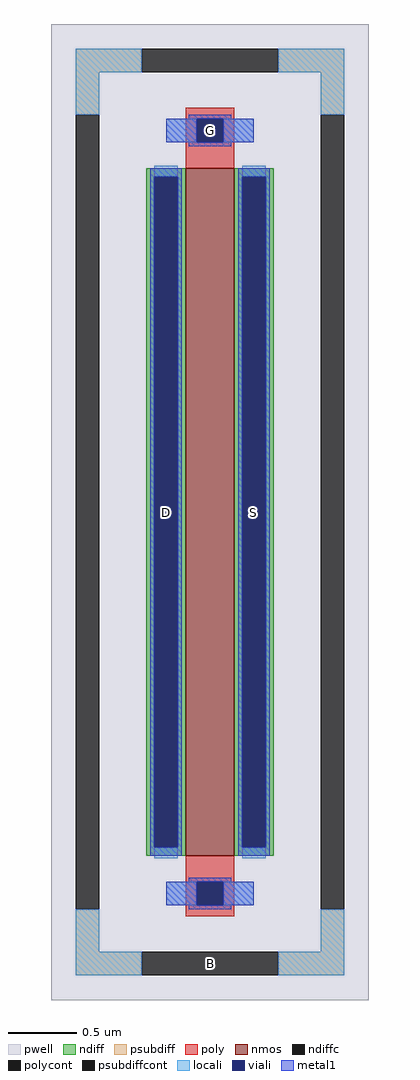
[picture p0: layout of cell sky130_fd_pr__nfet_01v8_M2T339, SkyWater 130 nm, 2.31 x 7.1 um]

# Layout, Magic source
magic
tech sky130A
magscale 1 2
<< pwell >>
rect -231 -710 231 710
<< nmos >>
rect -35 -500 35 500
<< ndiff >>
rect -93 488 -35 500
rect -93 -488 -81 488
rect -47 -488 -35 488
rect -93 -500 -35 -488
rect 35 488 93 500
rect 35 -488 47 488
rect 81 -488 93 488
rect 35 -500 93 -488
<< ndiffc >>
rect -81 -488 -47 488
rect 47 -488 81 488
<< psubdiff >>
rect -195 640 -99 674
rect 99 640 195 674
rect -195 578 -161 640
rect 161 578 195 640
rect -195 -640 -161 -578
rect 161 -640 195 -578
rect -195 -674 -99 -640
rect 99 -674 195 -640
<< psubdiffcont >>
rect -99 640 99 674
rect -195 -578 -161 578
rect 161 -578 195 578
rect -99 -674 99 -640
<< poly >>
rect -35 572 35 588
rect -35 538 -19 572
rect 19 538 35 572
rect -35 500 35 538
rect -35 -538 35 -500
rect -35 -572 -19 -538
rect 19 -572 35 -538
rect -35 -588 35 -572
<< polycont >>
rect -19 538 19 572
rect -19 -572 19 -538
<< locali >>
rect -195 640 -99 674
rect 99 640 195 674
rect -195 578 -161 640
rect 161 578 195 640
rect -64 538 -19 572
rect 19 538 64 572
rect -81 488 -47 504
rect -81 -504 -47 -488
rect 47 488 81 504
rect 47 -504 81 -488
rect -64 -572 -19 -538
rect 19 -572 64 -538
rect -195 -640 -161 -578
rect 161 -640 195 -578
rect -195 -674 -99 -640
rect 99 -674 195 -640
<< viali >>
rect -19 538 19 572
rect -81 -488 -47 488
rect 47 -488 81 488
rect -19 -572 19 -538
<< metal1 >>
rect -31 572 31 578
rect -64 538 -19 572
rect 19 538 64 572
rect -31 532 31 538
rect -87 488 -41 500
rect -87 -488 -81 488
rect -47 -488 -41 488
rect -87 -500 -41 -488
rect 41 488 87 500
rect 41 -488 47 488
rect 81 -488 87 488
rect 41 -500 87 -488
rect -31 -538 31 -532
rect -64 -572 -19 -538
rect 19 -572 64 -538
rect -31 -578 31 -572
<< labels >>
rlabel psubdiffcont 0 -657 0 -657 0 B
port 1 nsew
rlabel ndiffc -64 0 -64 0 0 D
port 2 nsew
rlabel ndiffc 64 0 64 0 0 S
port 3 nsew
rlabel polycont 0 555 0 555 0 G
port 4 nsew
<< properties >>
string FIXED_BBOX -178 -657 178 657
string gencell sky130_fd_pr__nfet_01v8
string library sky130
string parameters w 5 l 0.35 m 1 nf 1 diffcov 100 polycov 100 guard 1 glc 1 grc 1 gtc 1 gbc 1 tbcov 100 rlcov 100 topc 1 botc 1 poverlap 0 doverlap 1 lmin 0.15 wmin 0.42 class mosfet compatible {sky130_fd_pr__nfet_01v8 sky130_fd_pr__nfet_01v8_lvt  sky130_fd_bs_flash__special_sonosfet_star  sky130_fd_pr__nfet_g5v0d10v5 sky130_fd_pr__nfet_05v0_nvt  sky130_fd_pr__nfet_03v3_nvt} full_metal 1 conn_gates 1 viasrc 100 viadrn 100 viagate 100 viagb 0 viagr 0 viagl 0 viagt 0 doports 1
<< end >>
